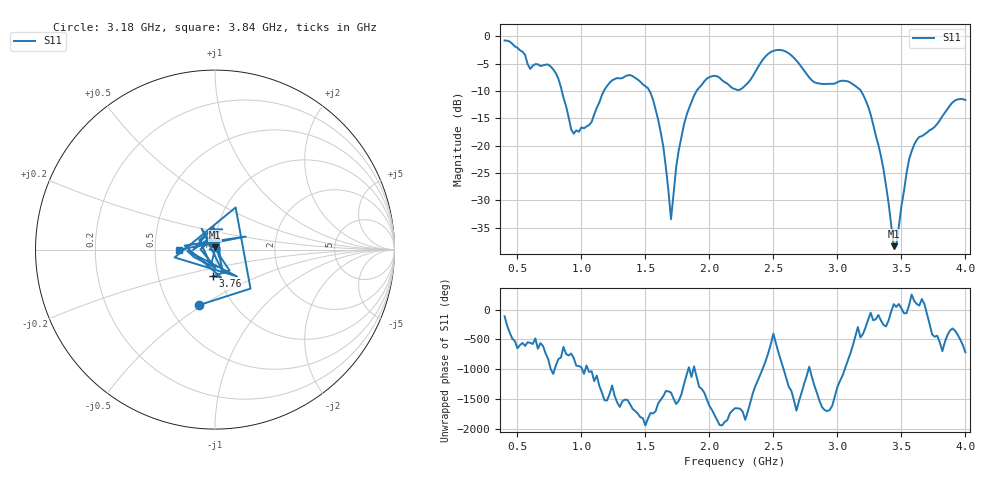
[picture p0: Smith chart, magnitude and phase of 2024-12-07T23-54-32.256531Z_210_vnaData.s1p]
!Created with skrf (http://scikit-rf.org).
# Hz S RI R 50.0
!freq ReS11 ImS11
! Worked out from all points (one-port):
!   181 points, 400 MHz to 4 GHz, reference 50 ohm
!   lowest |S11| = -38.4 dB at 3.44 GHz (marker M1), VSWR 1.02, Z = 49.9 + j1.19 ohm
!   |S11| at or under -10 dB: 847.3 MHz to 1.175 GHz (327.9 MHz wide, 32.4 % of centre); 1.532 GHz to 1.899 GHz (367 MHz wide, 21.4 % of centre); 3.184 GHz to end of sweep
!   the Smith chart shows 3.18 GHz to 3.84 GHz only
!   S11 on the Smith chart (normalised r, x): 3.18 GHz: 0.70, -0.48; 3.76 GHz: 0.94, -0.28; 3.84 GHz: 0.67, -0.00
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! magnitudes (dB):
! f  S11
! 400 MHz  -0.7
! 600 MHz  -5.9
! 760 MHz  -5.5
! 860 MHz  -11.2
! 940 MHz  -17.8
! 1.06 GHz  -16.2
! 1.18 GHz  -9.8
! 1.3 GHz  -7.7
! 1.4 GHz  -7.3
! 1.56 GHz  -11.6
! 1.64 GHz  -20.2
! 1.7 GHz  -33.5
! 1.76 GHz  -20.9
! 1.84 GHz  -13.2
! 1.96 GHz  -8.2
! 2.2 GHz  -9.6
! 2.48 GHz  -2.8
! 2.66 GHz  -3.9
! 2.82 GHz  -8.4
! 3.1 GHz  -8.4
! 3.18 GHz  -9.8
! 3.34 GHz  -21.9
! 3.44 GHz  -38.4
! 3.46 GHz  -38.2
! 3.56 GHz  -22.5
! 3.76 GHz  -16.5
! 3.84 GHz  -14.0
! 4 GHz  -11.7
